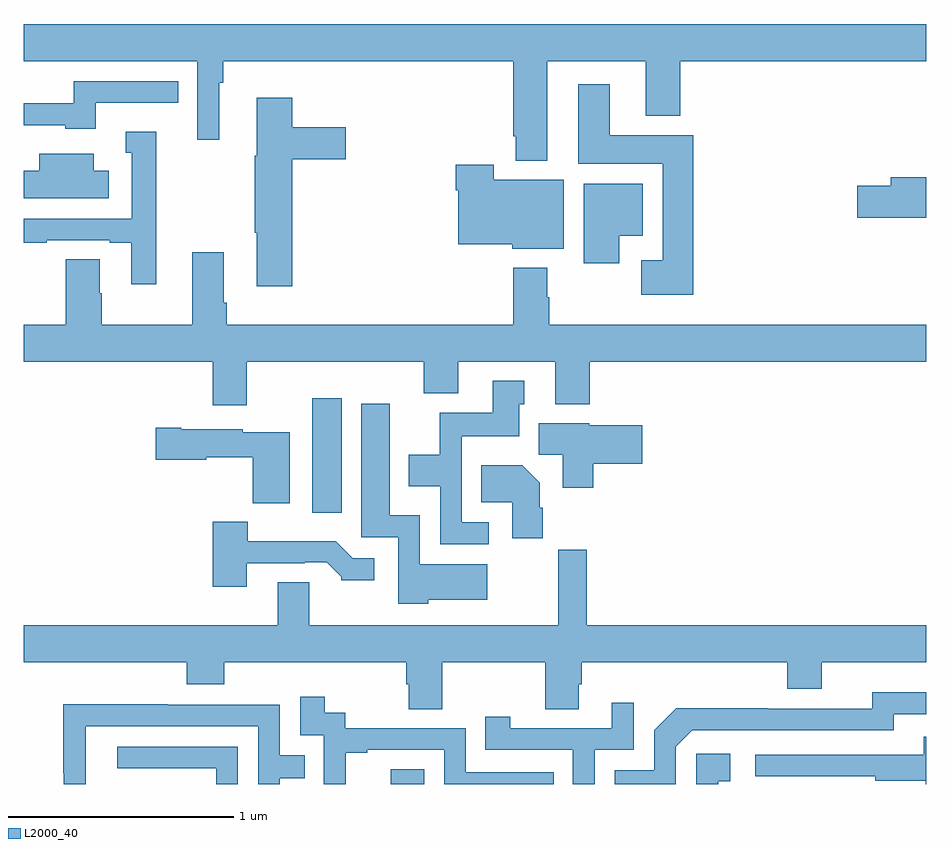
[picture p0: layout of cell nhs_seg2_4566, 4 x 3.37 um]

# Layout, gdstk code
import gdstk
lib = gdstk.Library(unit=1e-6, precision=1e-09)
def R(c, l, rs):  # rectangles x0, y0, x1, y1
    for r in rs: c.add(gdstk.rectangle(r[:2], r[2:], *l))
def P(c, l, *ps):  # polygons
    for p in ps: c.add(gdstk.Polygon(p, *l))
L2000_40 = (2000, 40)

nhs_seg2_4566 = lib.new_cell('nhs_seg2_4566')
R(nhs_seg2_4566, L2000_40, [(360.627,609.8,360.774,609.865), (360.278,611.001,360.409,611.509)])
P(nhs_seg2_4566, L2000_40, [(361.321,613.004),(361.757,613.004),(361.757,612.761),(361.91,612.761),(361.91,613.004),(363,613.004),(363,613.168),(359,613.168),(359,613.004),(359.769,613.004),(359.769,612.654),(359.866,612.654),(359.866,612.908),(359.885,612.908),(359.885,613.004),(361.169,613.004),(361.169,612.67),(361.181,612.67),(361.181,612.563),(361.321,612.563)],
  [(359.32,612.819),(359.684,612.819),(359.684,612.915),(359.221,612.915),(359.221,612.816),(359,612.816),(359,612.72),(359.184,612.72),(359.184,612.704),(359.32,612.704)],
  [(361.967,612.676),(361.597,612.676),(361.597,612.901),(361.457,612.901),(361.457,612.548),(361.832,612.548),(361.832,612.121),(361.737,612.121),(361.737,611.969),(361.967,611.969)],
  [(360.191,612.569),(360.427,612.569),(360.427,612.711),(360.191,612.711),(360.191,612.841),(360.032,612.841),(360.032,612.585),(360.025,612.585),(360.025,612.244),(360.032,612.244),(360.032,612.006),(360.191,612.006)],
  [(359.587,612.691),(359.453,612.691),(359.453,612.597),(359.478,612.597),(359.478,612.306),(359,612.306),(359,612.198),(359.102,612.198),(359.102,612.21),(359.381,612.21),(359.381,612.198),(359.477,612.198),(359.477,612.015),(359.587,612.015)],
  [(359.377,612.517),(359.311,612.517),(359.311,612.592),(359.069,612.592),(359.069,612.517),(359,612.517),(359,612.395),(359.377,612.395)],
  [(361.393,612.478),(361.084,612.478),(361.084,612.544),(360.914,612.544),(360.914,612.431),(360.926,612.431),(360.926,612.191),(361.164,612.191),(361.164,612.173),(361.393,612.173)],
  [(363,612.488),(362.843,612.488),(362.843,612.452),(362.694,612.452),(362.694,612.31),(363,612.31)],
  [(361.639,612.23),(361.744,612.23),(361.744,612.46),(361.481,612.46),(361.481,612.108),(361.639,612.108)],
  [(359.186,612.125),(359.186,611.836),(359,611.836),(359,611.672),(359.837,611.672),(359.837,611.478),(359.989,611.478),(359.989,611.672),(360.773,611.672),(360.773,611.531),(360.925,611.531),(360.925,611.672),(361.355,611.672),(361.355,611.483),(361.508,611.483),(361.508,611.672),(363,611.672),(363,611.836),(361.329,611.836),(361.329,611.957),(361.321,611.957),(361.321,612.088),(361.169,612.088),(361.169,611.836),(359.9,611.836),(359.9,611.932),(359.887,611.932),(359.887,612.157),(359.747,612.157),(359.747,611.836),(359.346,611.836),(359.346,611.975),(359.338,611.975),(359.338,612.125)],
  [(361.06,610.959),(360.942,610.959),(360.942,611.342),(361.195,611.342),(361.195,611.484),(361.219,611.484),(361.219,611.587),(361.079,611.587),(361.079,611.446),(360.844,611.446),(360.844,611.26),(360.707,611.26),(360.707,611.12),(360.846,611.12),(360.846,610.863),(361.06,610.863)],
  [(360.792,610.616),(361.054,610.616),(361.054,610.774),(360.756,610.774),(360.756,610.99),(360.622,610.99),(360.622,611.485),(360.497,611.485),(360.497,610.893),(360.66,610.893),(360.66,610.598),(360.792,610.598)],
  [(361.523,611.219),(361.741,611.219),(361.741,611.389),(361.506,611.389),(361.506,611.398),(361.283,611.398),(361.283,611.26),(361.388,611.26),(361.388,611.112),(361.523,611.112)],
  [(360.178,611.359),(359.97,611.359),(359.97,611.371),(359.698,611.371),(359.698,611.379),(359.586,611.379),(359.586,611.237),(359.808,611.237),(359.808,611.249),(360.016,611.249),(360.016,611.045),(360.178,611.045)],
  [(361.301,611.024),(361.288,611.024),(361.288,611.134),(361.21,611.212),(361.027,611.212),(361.027,611.048),(361.166,611.048),(361.166,610.89),(361.301,610.89)],
  [(359.989,610.779),(360.245,610.779),(360.245,610.782),(360.344,610.782),(360.408,610.718),(360.408,610.703),(360.553,610.703),(360.553,610.8),(360.459,610.8),(360.383,610.876),(359.992,610.876),(359.992,610.963),(359.837,610.963),(359.837,610.674),(359.989,610.674)],
  [(360.855,610.34),(361.312,610.34),(361.312,610.132),(361.459,610.132),(361.459,610.242),(361.472,610.242),(361.472,610.34),(362.384,610.34),(362.384,610.223),(362.536,610.223),(362.536,610.34),(363,610.34),(363,610.504),(361.496,610.504),(361.496,610.837),(361.368,610.837),(361.368,610.504),(360.265,610.504),(360.265,610.694),(360.125,610.694),(360.125,610.504),(359,610.504),(359,610.34),(359.723,610.34),(359.723,610.241),(359.888,610.241),(359.888,610.34),(360.695,610.34),(360.695,610.242),(360.707,610.242),(360.707,610.132),(360.855,610.132)],
  [(361.89,609.966),(361.962,610.038),(362.856,610.038),(362.856,610.11),(363,610.11),(363,610.207),(362.76,610.207),(362.76,610.134),(362.3,610.134),(362.3,610.136),(361.892,610.136),(361.794,610.038),(361.794,609.861),(361.62,609.861),(361.62,609.8),(361.89,609.8)],
  [(360.428,609.939),(360.523,609.939),(360.523,609.951),(360.864,609.951),(360.864,609.8),(361.349,609.8),(361.349,609.852),(360.96,609.852),(360.96,610.047),(360.426,610.047),(360.426,610.116),(360.334,610.116),(360.334,610.186),(360.225,610.186),(360.225,610.017),(360.33,610.017),(360.33,609.8),(360.428,609.8)],
  [(361.53,609.951),(361.704,609.951),(361.704,610.159),(361.607,610.159),(361.607,610.047),(361.156,610.047),(361.156,610.099),(361.045,610.099),(361.045,609.951),(361.434,609.951),(361.434,609.8),(361.53,609.8)],
  [(359.274,610.056),(360.039,610.056),(360.039,609.8),(360.135,609.8),(360.135,609.826),(360.245,609.826),(360.245,609.927),(360.135,609.927),(360.135,610.152),(359.639,610.152),(359.639,610.154),(359.176,610.154),(359.176,609.847),(359.178,609.847),(359.178,609.8),(359.274,609.8)],
  [(363,610.009),(362.989,610.009),(362.989,609.93),(362.241,609.93),(362.241,609.834),(362.773,609.834),(362.773,609.814),(362.997,609.814),(362.997,609.8),(363,609.8)],
  [(359.949,609.966),(359.415,609.966),(359.415,609.87),(359.853,609.87),(359.853,609.8),(359.949,609.8)],
  [(362.078,609.813),(362.131,609.813),(362.131,609.934),(361.98,609.934),(361.98,609.8),(362.078,609.8)])

lib.write_gds('nhs_seg2_4566.gds')
